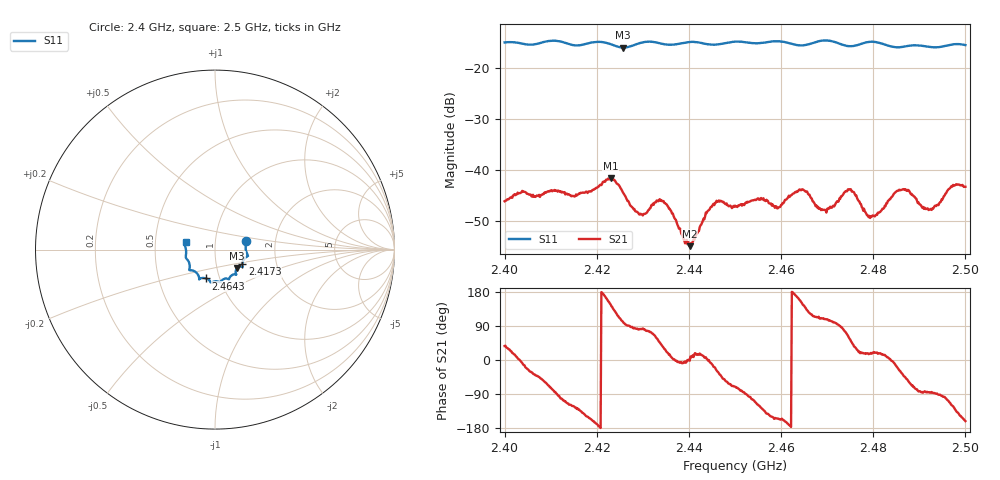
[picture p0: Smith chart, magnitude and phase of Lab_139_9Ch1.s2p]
# Hz S RI R 50
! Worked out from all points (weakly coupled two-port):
!   601 points, 2.4 GHz to 2.5 GHz, reference 50 ohm
!   highest |S21| = -41.57 dB at 2.423 GHz (marker M1); lowest = -55.0 dB at 2.4402 GHz (marker M2)
!   lowest |S11| = -15.9 dB at 2.4257 GHz (marker M3), VSWR 1.38, Z = 62.5 - j13.1 ohm
!   |S11| at or under -10 dB: start of sweep to end of sweep
!   S12 and S22 are empty: the file has one direction only
!   S11 on the Smith chart (normalised r, x): 2.4 GHz: 1.41, +0.14; 2.4173 GHz: 1.34, -0.23; 2.4643 GHz: 0.86, -0.28; 2.5 GHz: 0.72, +0.06
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2.4e9  0.1732 0.049  0.00393 0.00296  0 0  0 0
2.416667e9  0.1527 -0.0744  -0.00428 -0.00411  0 0  0 0
2.417333e9  0.1518 -0.0819  -0.00479 -0.00356  0 0  0 0
2.423e9  0.1454 -0.0939  -0.00699 0.00456  0 0  0 0
2.425667e9  0.1232 -0.1022  -0.00115 0.00591  0 0  0 0
2.4295e9  0.1166 -0.1347  0.000537 0.00367  0 0  0 0
2.433333e9  0.1127 -0.1378  0.00302 0.00387  0 0  0 0
2.440167e9  0.0788 -0.1637  0.00178 -6e-05  0 0  0 0
2.445667e9  0.0504 -0.1636  0.00446 -0.00161  0 0  0 0
2.45e9  0.0287 -0.1809  0.00149 -0.0042  0 0  0 0
2.455333e9  -0.00104 -0.1769  -0.0027 -0.00445  0 0  0 0
2.4595e9  -0.0233 -0.1835  -0.00391 -0.00175  0 0  0 0
2.464333e9  -0.0501 -0.1606  -0.00563 0.00284  0 0  0 0
2.466667e9  -0.0759 -0.1591  -0.00262 0.00452  0 0  0 0
2.469667e9  -0.0884 -0.1661  -0.00121 0.00383  0 0  0 0
2.475e9  -0.1061 -0.1264  0.00378 0.00524  0 0  0 0
2.4795e9  -0.1428 -0.1141  0.0033 0.00111  0 0  0 0
2.483333e9  -0.1407 -0.0896  0.00498 0.000467  0 0  0 0
2.487167e9  -0.1559 -0.0546  0.00406 -0.00476  0 0  0 0
2.4925e9  -0.1608 -0.02  0.00031 -0.00413  0 0  0 0
2.497e9  -0.1694 0.027  -0.00337 -0.00608  0 0  0 0
2.5e9  -0.1638 0.0429  -0.00646 -0.0022  0 0  0 0
